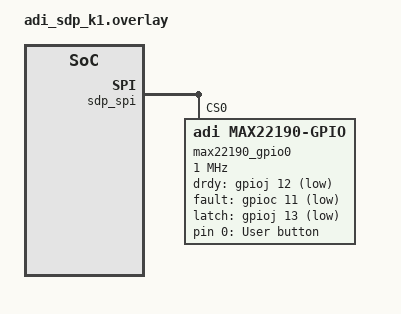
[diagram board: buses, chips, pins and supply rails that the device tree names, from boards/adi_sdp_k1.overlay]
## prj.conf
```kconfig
CONFIG_GPIO=y
CONFIG_SPI=y
CONFIG_LOG=y
CONFIG_GPIO_DIAGNOSTICS=y
CONFIG_SENSOR=y
```

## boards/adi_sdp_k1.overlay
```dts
/*
 * Copyright (c) 2010-2024 Analog Devices Inc.
 * Copyright (c) 2024 Baylibre SAS
 *
 * SPDX-License-Identifier: Apache-2.0
 */

/ {
	aliases {
		sw0 = &button0;
	};

	buttons {
		compatible = "gpio-keys";

		button0: button_0 {
			gpios = <&max22190_gpio0 0 GPIO_ACTIVE_HIGH>;
			label = "User button";
		};
	};
};

&sdp_spi {
	status = "okay";
	pinctrl-names = "default";

	max22190_gpio0: max22190_gpio@0 {
		compatible = "adi,max22190-gpio";
		reg = <0>;

		spi-max-frequency = <1000000>;
		status = "okay";

		gpio-controller;
		#gpio-cells = <2>;
		ngpios = <8>;
		status = "okay";

		max22190-mode = <1>; // modes range from 0-4

		drdy-gpios = <&gpioj 12 GPIO_ACTIVE_LOW>; /* SDP-GPIO5 - PMOD-PIN8 */
		fault-gpios = <&gpioc 11 GPIO_ACTIVE_LOW>; /* SDP-SERIAL_INT - PMOD-PIN7 */
		latch-gpios = <&gpioj 13 GPIO_ACTIVE_LOW>; /* SDP-GPIO6 - PMOD-PIN9 */

		filter-wbes = <1 0 0 0  0 0 0 0>; // wirebreak WBEx
		filter-fbps = <0 0 0 0  0 0 0 0>; // programmable filter INx
		filter-delays = <50 100 400 800 1600 3200 12800 20000>; // 1000 us == 1ms
	};
};
```

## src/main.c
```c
/*
 * Copyright (c)
 *
 * SPDX-License-Identifier: Apache-2.0
 */

#include <zephyr/kernel.h>
#include <zephyr/device.h>
#include <zephyr/drivers/gpio.h>
#include <zephyr/sys/util.h>
#include <zephyr/sys/printk.h>
#include <inttypes.h>
#include <zephyr/drivers/sensor.h>
#include <zephyr/drivers/gpio/gpio_diag.h> /* for diagnostic flags */

#define SLEEP_TIME_MS	10

/*
 * Get button configuration from the devicetree sw0 alias. This is mandatory.
 */
#define SW0_NODE	DT_ALIAS(sw0)
#if !DT_NODE_HAS_STATUS(SW0_NODE, okay)
#error "Unsupported board: sw0 devicetree alias is not defined"
#endif

static const struct gpio_dt_spec button = GPIO_DT_SPEC_GET_OR(SW0_NODE, gpios, {0});
static struct gpio_callback button_cb_data;

/*
 * The led0 devicetree alias is optional. If present, we'll use it
 * to turn on the LED whenever the button is pressed.
 */
static struct gpio_dt_spec led = GPIO_DT_SPEC_GET_OR(DT_ALIAS(led0), gpios, {0});

struct device_info {
	struct k_work work;
	struct gpio_dt_spec button;
} max22190_dev;

void print_error(struct k_work *item)
{
	struct device_info *work_dev = CONTAINER_OF(item, struct device_info, work);

	gpio_port_diag_fetch_dt(&work_dev->button);

	uint8_t val;

	gpio_port_diag_get_dt(&work_dev->button, GPIO_DIAG_WIRE_BREAK, &val);
	printk("Wire Break generic: [%d]\n", val);

	gpio_port_diag_get_dt(&work_dev->button, GPIO_DIAG_SUPPLY_ERR, &val);
	printk("Power supply issue: [%d]\n", val);
}

void button_pressed(const struct device *dev, struct gpio_callback *cb,
		    uint32_t pins)
{
	k_work_submit(&max22190_dev.work);
}

int main(void)
{
	int ret;

	max22190_dev.button = button;

	if (!gpio_is_ready_dt(&max22190_dev.button)) {
		printk("Error: button device %s is not ready\n",
		       max22190_dev.button.port->name);
		return 0;
	}

	ret = gpio_pin_configure_dt(&max22190_dev.button, GPIO_INPUT);
	if (ret != 0) {
		printk("Error %d: failed to configure %s pin %d\n",
		       ret, max22190_dev.button.port->name, max22190_dev.button.pin);
		return 0;
	}

	gpio_init_diag_callback(&button_cb_data, button_pressed);
	ret = gpio_add_diag_callback(max22190_dev.button.port, &button_cb_data);
	if (ret != 0) {
		printk("Error [%d] [gpio_add_diag_callback]\n", ret);
	}

	printk("Set up button at %s pin %d\n", max22190_dev.button.port->name,
	       max22190_dev.button.pin);

	if (led.port && !gpio_is_ready_dt(&led)) {
		printk("Error %d: LED device %s is not ready; ignoring it\n",
		       ret, led.port->name);
		led.port = NULL;
	}
	if (led.port) {
		ret = gpio_pin_configure_dt(&led, GPIO_OUTPUT);
		if (ret != 0) {
			printk("Error %d: failed to configure LED device %s pin %d\n",
			       ret, led.port->name, led.pin);
			led.port = NULL;
		} else {
			printk("Set up LED at %s pin %d\n", led.port->name, led.pin);
		}
	}

	k_work_init(&max22190_dev.work, print_error);

	printk("Press the button\n");
	if (led.port) {

		while (1) {
			/* If we have an LED, match its state to the button's. */
			int val = gpio_pin_get_dt(&max22190_dev.button);

			if (val >= 0) {
				gpio_pin_set_dt(&led, val);
			}

			k_msleep(SLEEP_TIME_MS);
		}
	}
	return 0;
}
```
